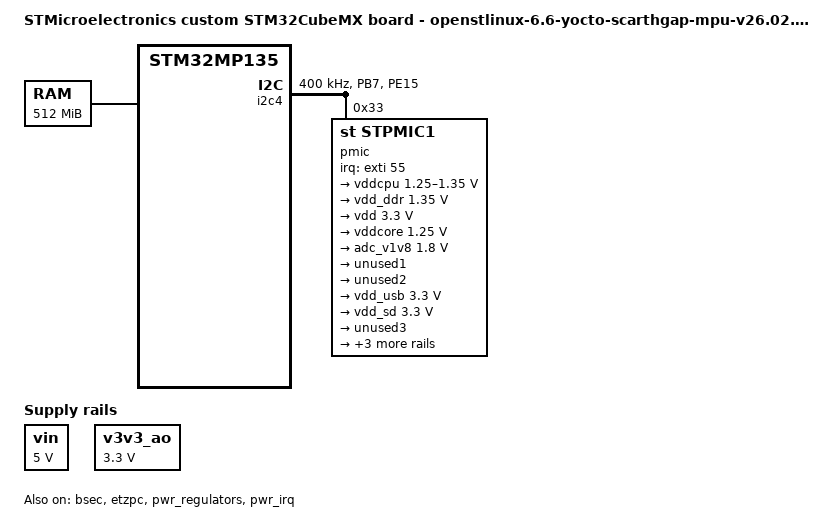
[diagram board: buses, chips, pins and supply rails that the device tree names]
// SPDX-License-Identifier: (GPL-2.0+ OR BSD-3-Clause)
/*
 * Copyright (C) 2026, STMicroelectronics - All Rights Reserved
 * Author: STM32CubeMX code generation for STMicroelectronics.
 */

/* For more information on Device Tree configuration, please refer to
 * https://wiki.st.com/stm32mpu/wiki/Category:Device_tree_configuration
 */

/dts-v1/;

#include <dt-bindings/pinctrl/stm32-pinfunc.h>
#include <dt-bindings/clock/stm32mp13-clksrc.h>
#include <dt-bindings/soc/stm32mp13-etzpc.h>
#include "stm32mp135.dtsi"
#include "stm32mp13xd.dtsi"

/* USER CODE BEGIN includes */
#include <dt-bindings/gpio/stm32mp_gpio.h>
#include <dt-bindings/mfd/st,stpmic1.h>
#include <dt-bindings/power/stm32mp1-power.h>
#include <dt-bindings/regulator/st,stm32mp13-regulator.h>
/* USER CODE END includes */

/ {
	model = "STMicroelectronics custom STM32CubeMX board - openstlinux-6.6-yocto-scarthgap-mpu-v26.02.18";
	compatible = "st,stm32mp135d-odyssey_dev_minimal_dt-mx", "st,stm32mp135";

	memory@c0000000 {
		device_type = "memory";
		reg = <0xc0000000 0x20000000>;

		/* USER CODE BEGIN memory */
		/* USER CODE END memory */
	};

	reserved-memory {
		#address-cells = <1>;
		#size-cells = <1>;
		ranges;

		/* USER CODE BEGIN reserved-memory */
		/* USER CODE END reserved-memory */
	};

	/* USER CODE BEGIN root */
	aliases{
		serial0 = &uart4;
	};

	chosen{
		stdout-path = "serial0:115200n8";
	};

	vin: vin {
		compatible = "regulator-fixed";
		regulator-name = "vin";
		regulator-min-microvolt = <5000000>;
		regulator-max-microvolt = <5000000>;
		regulator-always-on;
	};

	v3v3_ao: v3v3_ao {
		compatible = "regulator-fixed";
		regulator-name = "v3v3_ao";
		regulator-min-microvolt = <3300000>;
		regulator-max-microvolt = <3300000>;
		regulator-always-on;
	};

	magic_wol: magic_wol {
		compatible = "st,stm32mp1,pwr-irq-user";
		st,wakeup-pin-number = <2>;
		status = "okay";
	};
	/* USER CODE END root */

	clocks {
		/* USER CODE BEGIN clocks */
		/* USER CODE END clocks */

		clk_hsi: clk-hsi {
			clock-frequency = <64000000>;

			/* USER CODE BEGIN clk_hsi */
			/* USER CODE END clk_hsi */
		};
		clk_lse: clk-lse {
			status = "disabled";

			/* USER CODE BEGIN clk_lse */
			/* USER CODE END clk_lse */
		};
		clk_hse: clk-hse {
			status = "disabled";

			/* USER CODE BEGIN clk_hse */
			/* USER CODE END clk_hse */
		};
		clk_i2sin: clk-i2sin {
			status = "disabled";

			/* USER CODE BEGIN clk_i2sin */
			/* USER CODE END clk_i2sin */
		};
	};
}; /* root */

/* Warning: the configuration of the secured GPIOs should be added in (addons) User Section */
&pinctrl {
	i2c4_pins_mx: i2c4_mx-0 {
		pins {
			pinmux = <STM32_PINMUX('B', 7, AF6)>, /* I2C4_SDA */
				 <STM32_PINMUX('E', 15, AF6)>; /* I2C4_SCL */
			bias-disable;
			drive-open-drain;
			slew-rate = <0>;
		};
	};

	/* USER CODE BEGIN pinctrl */
	wakeup_pins: wakeup_pins {
		wakeup_pin_1: pins1 {
			pinmux = <STM32_PINMUX('F', 8, GPIO)>;	// PMIC_INT
			bias-pull-up;
		};
		wakeup_pin_3: pins3 {
			pinmux = <STM32_PINMUX('C', 13, GPIO)>;	// PMIC_WAKEUP
		};
		wakeup_pin_4: pins4 {
			pinmux = <STM32_PINMUX('H', 10, GPIO)>;	// NC
		};
		wakeup_pin_5: pins5 {
			pinmux = <STM32_PINMUX('I', 2, GPIO)>;	// NC
			bias-pull-up;
		};
		wakeup_pin_6: pins6 {
			pinmux = <STM32_PINMUX('C', 2, GPIO)>;	// NC
		};
	};	
	/* USER CODE END pinctrl */
};

&bsec {
	status = "okay";

	/* USER CODE BEGIN bsec */
	/* USER CODE END bsec */
};

&etzpc {
	status = "okay";
	st,decprot = <
	/*"NS_R S_W" peripherals*/
	DECPROT(STM32MP1_ETZPC_DDRCTRLPHY_ID, DECPROT_NS_R_S_W, DECPROT_LOCK)
	/*"Non Secured" peripherals*/
	DECPROT(STM32MP1_ETZPC_SDMMC1_ID, DECPROT_NS_RW, DECPROT_UNLOCK)
	/*"Secured" peripherals*/
	DECPROT(STM32MP1_ETZPC_I2C4_ID, DECPROT_S_RW, DECPROT_UNLOCK)	
	DECPROT(STM32MP1_ETZPC_STGENC_ID, DECPROT_S_RW, DECPROT_UNLOCK)

	/*Restriction: following IDs are not managed  - please to use User-Section if needed:
		  STM32MP1_ETZPC_SRAMx_ID  STM32MP1_ETZPC_BKPSRAM_ID*/

	/* USER CODE BEGIN etzpc_decprot */
		/*STM32CubeMX generates a basic and standard configuration for ETZPC.
		Additional device configurations can be added here if needed.
		"etzpc" node could be also overloaded in "addons" User-Section.*/
	/* USER CODE END etzpc_decprot */
	>;

	/* USER CODE BEGIN etzpc */
	/* USER CODE END etzpc */
};


&pwr_regulators {
	status = "okay";

	/* USER CODE BEGIN pwr_regulators */
	system_suspend_supported_soc_modes = <
		STM32_PM_CSLEEP_RUN
		STM32_PM_CSTOP_ALLOW_LP_STOP
		STM32_PM_CSTOP_ALLOW_LPLV_STOP
		STM32_PM_CSTOP_ALLOW_LPLV_STOP2
		STM32_PM_CSTOP_ALLOW_STANDBY_DDR_SR
	>;

	system_off_soc_mode = <STM32_PM_SHUTDOWN>;
	vdd-supply = <&vdd>;
	vdd_3v3_usbfs-supply = <&vdd_usb>;
	/* USER CODE END pwr_regulators */
};

&i2c4 {
	pinctrl-names = "default";
	pinctrl-0 = <&i2c4_pins_mx>;
	status = "okay";

	/* USER CODE BEGIN i2c4 */
	i2c-scl-rising-time-ns = <185>;
	i2c-scl-falling-time-ns = <20>;
	clock-frequency = <400000>;
	
	pmic: stpmic@33 {
		compatible = "st,stpmic1";
		reg = <0x33>;
		status = "okay";
		interrupts-extended = <&exti 55 IRQ_TYPE_EDGE_FALLING>;
		wakeup-source;
		st,pmic-it-id = <IT_PONKEY_F IT_PONKEY_R>;
		st,notif-it-id = <0 2>;

		regulators {
			compatible = "st,stpmic1-regulators";
			buck1-supply = <&vin>;
			buck2-supply = <&vin>;
			buck3-supply = <&vin>;
			buck4-supply = <&vin>;
			ldo1-supply = <&vin>;
			ldo4-supply = <&vin>;
			ldo5-supply = <&vin>;
			ldo6-supply = <&vin>;
			vref_ddr-supply = <&vin>;
			pwr_sw1-supply = <&bst_out>;
			pwr_sw2-supply = <&v3v3_ao>;

			vddcpu: buck1 {
				regulator-name = "vddcpu";
				regulator-min-microvolt = <1250000>;
				regulator-max-microvolt = <1350000>;
				regulator-always-on;
				regulator-over-current-protection;

				lp-stop {
					regulator-suspend-microvolt = <1250000>;
				};
				lplv-stop {
					regulator-suspend-microvolt = <900000>;
				};
				lplv-stop2 {
					regulator-off-in-suspend;
				};
				standby-ddr-sr {
					regulator-off-in-suspend;
				};
				standby-ddr-off {
					regulator-off-in-suspend;
				};
			};

			vdd_ddr: buck2 {
				regulator-name = "vdd_ddr";
				regulator-min-microvolt = <1350000>;
				regulator-max-microvolt = <1350000>;
				regulator-always-on;
				regulator-over-current-protection;

				standby-ddr-off {
					regulator-off-in-suspend;
				};
			};

			vdd: buck3 {
				regulator-name = "vdd";
				regulator-min-microvolt = <3300000>;
				regulator-max-microvolt = <3300000>;
				regulator-always-on;
				st,mask-reset;
				regulator-over-current-protection;
			};

			vddcore: buck4 {
				regulator-name = "vddcore";
				regulator-min-microvolt = <1250000>;
				regulator-max-microvolt = <1250000>;
				regulator-always-on;
				regulator-over-current-protection;

				lplv-stop {
					regulator-suspend-microvolt = <900000>;
				};
				lplv-stop2 {
					regulator-suspend-microvolt = <900000>;
				};
				standby-ddr-sr {
					regulator-off-in-suspend;
				};
				standby-ddr-off {
					regulator-off-in-suspend;
				};
			};

			adc_v1v8: ldo1 {
				regulator-name = "v1v8_adc";
				regulator-min-microvolt = <1800000>;
				regulator-max-microvolt = <1800000>;

				standby-ddr-sr {
					regulator-off-in-suspend;
				};
				standby-ddr-off {
					regulator-off-in-suspend;
				};
			};

			unused1: ldo2 {
				regulator-name = "ldo2";
			};

			unused2: ldo3 {
				regulator-name = "ldo3";
			};

			vdd_usb: ldo4 {
				regulator-name = "vdd_usb";
				regulator-min-microvolt = <3300000>;
				regulator-max-microvolt = <3300000>;

				standby-ddr-sr {
					regulator-off-in-suspend;
				};
				standby-ddr-off {
					regulator-off-in-suspend;
				};
			};

			vdd_sd: ldo5 {
				regulator-name = "vddsd1";
				regulator-min-microvolt = <3300000>;
				regulator-max-microvolt = <3300000>;
				regulator-boot-on;

				standby-ddr-sr {
					regulator-off-in-suspend;
				};
				standby-ddr-off {
					regulator-off-in-suspend;
				};
			};

			unused3: ldo6 {
				regulator-name = "ldo6";
			};

			vref_ddr: vref_ddr {
				regulator-name = "vref_ddr";
				regulator-always-on;

				standby-ddr-sr {
					regulator-off-in-suspend;
				};
				standby-ddr-off {
					regulator-off-in-suspend;
				};
			};

			bst_out: boost {
				regulator-name = "bst_out";
			};

			v3v3_sw: pwr_sw2 {
				regulator-name = "v3v3_sw";
				regulator-active-discharge = <1>;
				regulator-min-microvolt = <3300000>;
				regulator-max-microvolt = <3300000>;
			};
		};
	};	
	/* USER CODE END i2c4 */
};

&rcc {
	status = "okay";
	clocks = <&clk_hsi>, <&clk_lsi>, <&clk_csi>;
	clock-names = "clk-hsi", "clk-lsi", "clk-csi";
	st,clksrc = <
		CLK_MPU_HSI
		CLK_AXI_HSI
		CLK_MLAHBS_HSI
		CLK_RTC_LSI
		CLK_MCO1_DISABLED
		CLK_MCO2_DISABLED
		CLK_CKPER_DISABLED
		CLK_SDMMC1_HSI
		CLK_STGEN_HSI
		CLK_I2C4_HSI
		CLK_UART4_HSI
	>;
	st,clkdiv = <
		DIV(DIV_MPU, 1)
		DIV(DIV_AXI, 0)
		DIV(DIV_MLAHB, 0)
		DIV(DIV_APB1, 0)
		DIV(DIV_APB2, 0)
		DIV(DIV_APB3, 0)
		DIV(DIV_APB4, 0)
		DIV(DIV_APB5, 0)
		DIV(DIV_APB6, 0)
		DIV(DIV_RTC, 0)
		DIV(DIV_MCO1, 0)
		DIV(DIV_MCO2, 0)
	>;
	st,pll_vco {
		pll2_vco_1056Mhz: pll2-vco-1056Mhz {
			src = < CLK_PLL12_HSI >;
			divmn = < 3 32 >;
		};
		/* USER CODE BEGIN rcc_st-pll_vco */
		/* USER CODE END rcc_st-pll_vco */
	};

	pll2:st,pll@1 {
		compatible = "st,stm32mp1-pll";
		reg = <1>;

		st,pll = < &pll2_cfg1 >;

		pll2_cfg1: pll2_cfg1 {
			st,pll_vco = < &pll2_vco_1056Mhz >;
			st,pll_div_pqr = < 1 1 0 >;
		};
		/* USER CODE BEGIN pll2 */
		/* USER CODE END pll2 */
	};

	st,clk_opp {
		/* CK_MPU clock config for MP13 */
		st,ck_mpu {

			cfg_1 {
				hz = < 64000000 >;
				st,clksrc = < CLK_MPU_HSI >;
			};
			/* USER CODE BEGIN rcc_st-ck_mpu */
			/* USER CODE END rcc_st-ck_mpu */
		};

		/* CK_AXI clock config for MP13 */
		st,ck_axi {

			cfg_1 {
				hz = < 64000000 >;
				st,clksrc = < CLK_AXI_HSI >;
				st,clkdiv = < DIV(DIV_AXI, 0) >;
			};
			/* USER CODE BEGIN rcc_st-ck_axi */
			/* USER CODE END rcc_st-ck_axi */
		};

		/* CK_MLAHBS clock config for MP13 */
		st,ck_mlahbs {

			cfg_1 {
				hz = < 64000000 >;
				st,clksrc = < CLK_MLAHBS_HSI >;
				st,clkdiv = < DIV(DIV_MLAHB, 0) >;
			};

			/* USER CODE BEGIN rcc_st-ck_mlahbs */
			/* USER CODE END rcc_st-ck_mlahbs */
		};
	};

	/* USER CODE BEGIN rcc */
	/* USER CODE END rcc */
};

/* USER CODE BEGIN addons */
&scmi_regu {
	scmi_vddcpu: voltd-vddcpu {
		reg = <VOLTD_SCMI_STPMIC1_BUCK1>;
		voltd-supply = <&vddcpu>;
	};
	scmi_vdd: voltd-vdd {
		reg = <VOLTD_SCMI_STPMIC1_BUCK3>;
		voltd-supply = <&vdd>;
	};
	scmi_vddcore: voltd-vddcore {
		reg = <VOLTD_SCMI_STPMIC1_BUCK4>;
		voltd-supply = <&vddcore>;
	};
	scmi_adc_v1v8: voltd-adc-v1v8 {
		reg = <VOLTD_SCMI_STPMIC1_LDO1>;
		voltd-supply = <&adc_v1v8>;
	};
	scmi_vdd_usb: voltd-vdd_usb {
		reg = <VOLTD_SCMI_STPMIC1_LDO4>;
		voltd-supply = <&vdd_usb>;
	};
	scmi_vdd_sd: voltd-vdd_sd {
		reg = <VOLTD_SCMI_STPMIC1_LDO5>;
		voltd-supply = <&vdd_sd>;
	};
	scmi_v3v3_sw: voltd-v3v3_sw {
		reg = <VOLTD_SCMI_STPMIC1_PWR_SW2>;
		voltd-supply = <&v3v3_sw>;
	};
};

&pwr_irq {
	pinctrl-names = "default";
	pinctrl-0 = <&wakeup_pins>;
	status = "okay";
};

&osc_calibration {
	hsi-calibration{
		status = "okay";
	};
};

&gpioc {
	st,protreg = < (TZPROT(13)) >;
};

&sdmmc2_io {
	status = "disabled";
};

&sdmmc1_io {
	vddsd1-supply = <&vdd_sd>;
};
/* USER CODE END addons */

